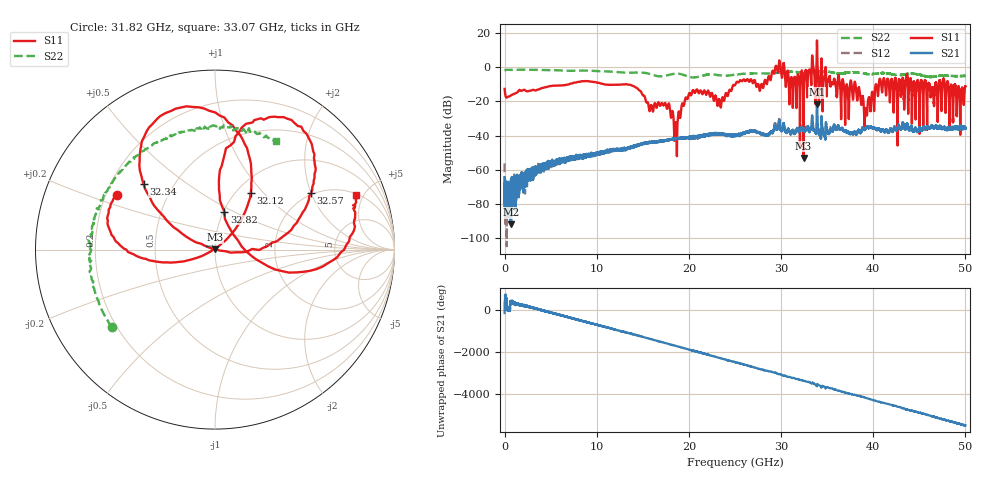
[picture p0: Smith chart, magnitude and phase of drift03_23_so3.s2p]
!Created with skrf (http://scikit-rf.org).
# Hz S RI R 50.0
!freq ReS11 ImS11 ReS21 ImS21 ReS12 ImS12 ReS22 ImS22
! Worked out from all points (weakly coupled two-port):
!   10001 points, 300 kHz to 50 GHz, reference 50 ohm
!   highest |S21| = -21.60 dB at 33.9 GHz (marker M1); lowest = -91.9 dB at 705.3 MHz (marker M2)
!   lowest |S11| = -53.2 dB at 32.44 GHz (marker M3), VSWR 1.00, Z = 49.9 + j0.21 ohm
!   |S11| at or under -10 dB: start of sweep to 6.951 GHz; 13.32 GHz to 25.05 GHz (11.73 GHz wide, 61.2 % of centre); 38.08 GHz to 40.27 GHz (2.195 GHz wide, 5.6 % of centre) (the widest 3 of 58)
!   |S22| runs from -5.9 to -1.3 dB; largest |S21 - S12| = 0.0079
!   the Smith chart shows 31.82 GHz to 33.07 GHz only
!   S11 on the Smith chart (normalised r, x): 31.82 GHz: 0.24, +0.24; 32.12 GHz: 1.16, +0.85; 32.34 GHz: 0.34, +0.35; 32.57 GHz: 1.95, +1.99; 32.82 GHz: 1.01, +0.45; 33.07 GHz: 2.10, +4.43
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300000  -0.212 -0.0981  -0.00052 -0.000289  -0.00102 0.00114  -0.7619 -0.19
7.052958e8  -0.021 0.1505  2.36e-05 9.3e-06  0.000423 3.95e-05  -0.12 0.8352
2.330286e9  0.0242 -0.2012  -0.000904 -3.9e-05  -0.000639 0.000133  0.0969 -0.8503
3.935276e9  -0.0194 0.2405  0.000812 -8.86e-05  0.00109 -0.000228  -0.0298 0.8317
5.470267e9  0.0681 -0.2815  -0.00151 8.81e-05  -0.00152 3.69e-05  0.1681 -0.8088
8.33525e9  0.2836 -0.2679  -0.0024 -0.000803  -0.00228 -0.00082  0.6004 -0.5366
9.585242e9  -0.3715 -0.0403  0.00147 0.00248  0.0014 0.00238  -0.7868 -0.0774
1.123023e10  0.3057 0.0326  -0.00224 -0.00287  -0.00213 -0.00276  0.7562 0.0408
1.66702e10  0.0543 0.0757  0.00452 -0.00452  0.00465 -0.00477  -0.3555 0.4198
2.500015e10  -0.297 -0.0475  0.00747 0.00622  0.00777 0.00634  -0.191 -0.5791
3.050512e10  0.2545 -0.0869  -0.00272 0.013  -0.0025 0.0124  0.7409 -0.0599
3.181511e10  -0.5483 0.3015  0.0119 -0.011  0.0116 -0.00972  -0.5762 -0.4318
3.212011e10  0.1986 0.3156  -0.000245 -0.0149  -2.93e-05 -0.0151  -0.6897 -0.00123
3.233511e10  -0.398 0.3647  -0.00444 -0.0148  -0.00354 -0.0153  -0.6119 0.3021
3.243511e10  -0.000638 0.0021  -0.00895 -0.0124  -0.00884 -0.0122  -0.5297 0.4365
3.25701e10  0.5341 0.3147  -0.0101 -0.00968  -0.00969 -0.00887  -0.3711 0.5708
3.28201e10  0.0518 0.212  -0.0162 -0.00286  -0.0164 -0.00229  -0.0102 0.6924
3.30651e10  0.7881 0.303  -0.0128 0.0031  -0.0129 0.00286  0.3399 0.606
3.33351e10  0.443 -0.9952  -0.00471 0.0247  -0.00656 0.0246  0.6156 0.3629
3.38951e10  -0.7924 -6.097  0.0829 0.00738  0.0795 0.00627  0.6735 -0.3163
4.167005e10  -0.2164 0.284  -0.0113 -0.00437  -0.0114 -0.00487  -0.652 -0.0523
5e10  -0.1502 -0.239  0.00265 -0.0158  0.00143 -0.0161  0.4615 -0.3188
